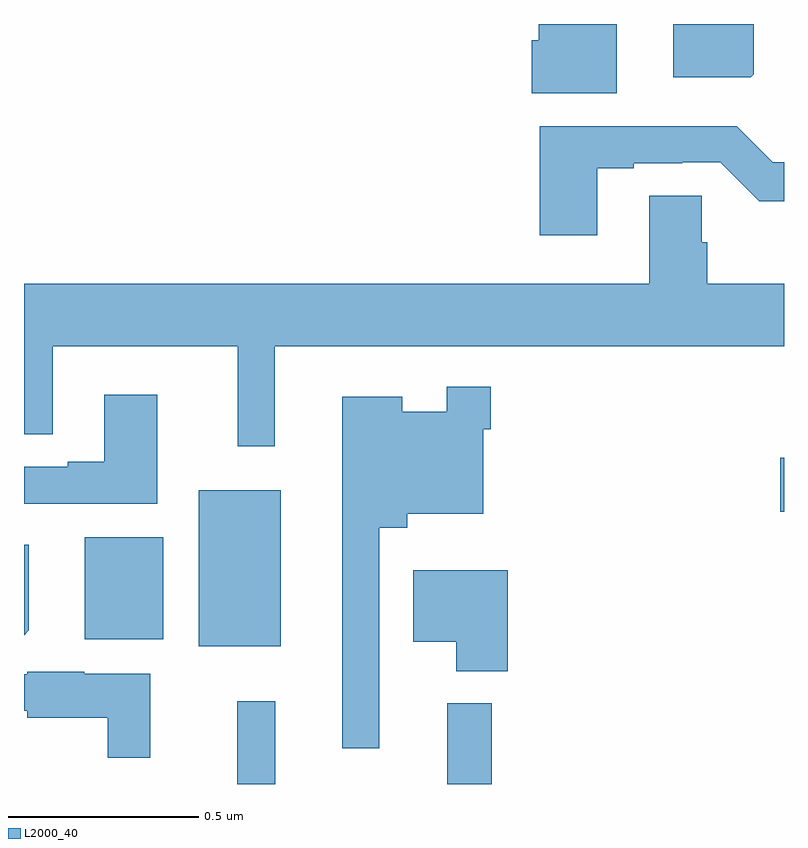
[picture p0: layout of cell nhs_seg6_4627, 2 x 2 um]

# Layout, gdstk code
import gdstk
lib = gdstk.Library(unit=1e-6, precision=1e-09)
def R(c, l, rs):  # rectangles x0, y0, x1, y1
    for r in rs: c.add(gdstk.rectangle(r[:2], r[2:], *l))
def P(c, l, *ps):  # polygons
    for p in ps: c.add(gdstk.Polygon(p, *l))
L2000_40 = (2000, 40)

nhs_seg6_4627 = lib.new_cell('nhs_seg6_4627')
R(nhs_seg6_4627, L2000_40, [(172.561,963.5,172.661,963.718), (173.114,963.5,173.231,963.712), (172.46,963.863,172.675,964.273), (172.16,963.881,172.366,964.15), (173.99,964.217,174,964.359)])
P(nhs_seg6_4627, L2000_40, [(173.92,965.368),(173.92,965.5),(173.708,965.5),(173.708,965.36),(173.912,965.36)],
  [(173.56,965.5),(173.354,965.5),(173.354,965.457),(173.336,965.457),(173.336,965.318),(173.56,965.318)],
  [(173.509,965.121),(173.605,965.121),(173.605,965.133),(173.732,965.133),(173.732,965.136),(173.832,965.136),(173.935,965.034),(174,965.034),(174,965.136),(173.97,965.136),(173.875,965.231),(173.357,965.231),(173.357,964.944),(173.509,964.944)],
  [(172.66,964.652),(174,964.652),(174,964.816),(173.798,964.816),(173.798,964.926),(173.784,964.926),(173.784,965.048),(173.645,965.048),(173.645,964.816),(172,964.816),(172,964.42),(172.075,964.42),(172.075,964.652),(172.562,964.652),(172.562,964.389),(172.66,964.389)],
  [(172.935,964.175),(173.009,964.175),(173.009,964.211),(173.208,964.211),(173.208,964.433),(173.228,964.433),(173.228,964.546),(173.112,964.546),(173.112,964.48),(172.996,964.48),(172.996,964.519),(172.838,964.519),(172.838,963.594),(172.935,963.594)],
  [(172.351,964.525),(172.211,964.525),(172.211,964.348),(172.115,964.348),(172.115,964.335),(172,964.335),(172,964.238),(172.351,964.238)],
  [(172.012,963.904),(172.012,964.129),(172,964.129),(172,963.892)],
  [(173.273,964.063),(173.024,964.063),(173.024,963.875),(173.138,963.875),(173.138,963.797),(173.273,963.797)],
  [(172.332,963.79),(172.158,963.79),(172.158,963.796),(172.008,963.796),(172.008,963.789),(172,963.789),(172,963.693),(172.008,963.693),(172.008,963.674),(172.221,963.674),(172.221,963.569),(172.332,963.569)])

lib.write_gds('nhs_seg6_4627.gds')
